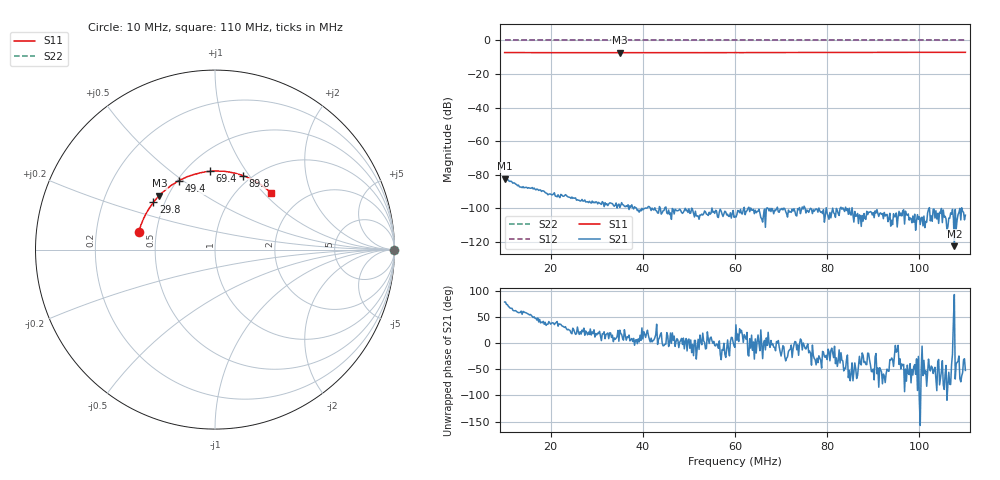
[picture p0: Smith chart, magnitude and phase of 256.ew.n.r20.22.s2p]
! Anritsu VNA Master:  Model: MS2036C/10/77
! SN:  1601066
! /card0/usr/256.ew.n.r20.22.s2p
! Existing Calibration Information:
! TYPE:  Current Settings,  Active Cal Settings
! TIME:  12/19/2017 03:10:25 PM,  12/19/2017 02:53:44 PM
! INTERNAL TEMP:  46.8 C,  46.3 C
! # POINTS:  501,  501
! START FREQ:  10.000 MHz,  10.000 MHz
! STOP FREQ:  110.000 MHz,  110.000 MHz
! SOURCE POWER:  High,  High
! IFBW:  100 Hz,  100 Hz
! AVG FACTOR:  1 ,  1
! REF PLANE 1:  0 mm,  0 mm
! REF PLANE 2:  0 mm,  0 mm
! CAL TYPE:  Full S11,  Full S11
! CAL METHOD:  SOLT,  SOLT
! CAL LINE TYPE:  Coax,  Coax
! DUT PORT 1:  N-Conn(F),  N-Conn(F)
! DUT PORT 2:  K-Conn(F),  K-Conn(F)
! CAL STATUS:  OK: Accuracy High,  --
# GHZ S DB R 50.0
! FREQ.GHZ  S11DB  S11A  S21DB  S21A  S12DB  S12A  S22DB  S22A
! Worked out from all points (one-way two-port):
!   501 points, 10 MHz to 110 MHz, reference 50 ohm
!   highest |S21| = -82.35 dB at 10 MHz (marker M1); lowest = -122.6 dB at 107.6 MHz (marker M2)
!   lowest |S11| = -7.3 dB at 35 MHz (marker M3), VSWR 2.52, Z = 22.6 + j16.7 ohm
!   |S11| at or under -10 dB: nowhere
!   |S22| runs from 0.0 to 0.0 dB; largest |S21 - S12| = 1
!   S11 on the Smith chart (normalised r, x): 10 MHz: 0.40, +0.10; 29.8 MHz: 0.43, +0.28; 49.4 MHz: 0.51, +0.48; 69.4 MHz: 0.65, +0.70; 89.8 MHz: 0.91, +0.93; 110 MHz: 1.40, +1.10
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0.01  -7.22 167.1  -82.35 78.6  0.00 0.0  0.00 0.0
0.0142  -7.24 161.8  -87.78 59.9  0.00 0.0  0.00 0.0
0.0178  -7.26 157.2  -89.07 38.6  0.00 0.0  0.00 0.0
0.0214  -7.26 152.7  -93.19 41.3  0.00 0.0  0.00 0.0
0.0268  -7.29 146.0  -94.70 24.8  0.00 0.0  0.00 0.0
0.0298  -7.27 142.4  -96.13 18.2  0.00 0.0  0.00 0.0
0.0336  -7.28 137.7  -98.18 2.8  0.00 0.0  0.00 0.0
0.035  -7.30 135.8  -99.51 24.8  0.00 0.0  0.00 0.0
0.0404  -7.26 129.0  -100.09 17.1  0.00 0.0  0.00 0.0
0.0434  -7.28 125.3  -102.87 7.0  0.00 0.0  0.00 0.0
0.0494  -7.28 118.0  -101.46 8.7  0.00 0.0  0.00 0.0
0.0552  -7.24 110.7  -102.40 -0.2  0.00 0.0  0.00 0.0
0.06  -7.24 105.1  -104.77 -8.2  0.00 0.0  0.00 0.0
0.0652  -7.21 98.6  -100.53 -0.7  0.00 0.0  0.00 0.0
0.0694  -7.18 93.6  -102.15 4.9  0.00 0.0  0.00 0.0
0.0768  -7.16 84.7  -103.18 -3.8  0.00 0.0  0.00 0.0
0.0846  -7.13 75.5  -103.60 -66.1  0.00 0.0  0.00 0.0
0.0898  -7.13 69.4  -103.99 -54.5  0.00 0.0  0.00 0.0
0.0934  -7.11 65.2  -106.23 -53.9  0.00 0.0  0.00 0.0
0.1006  -7.06 56.7  -105.30 -5.7  0.00 0.0  0.00 0.0
0.1076  -7.07 48.4  -122.58 92.9  0.00 0.0  0.00 0.0
0.11  -7.06 45.5  -104.12 -52.2  0.00 0.0  0.00 0.0
